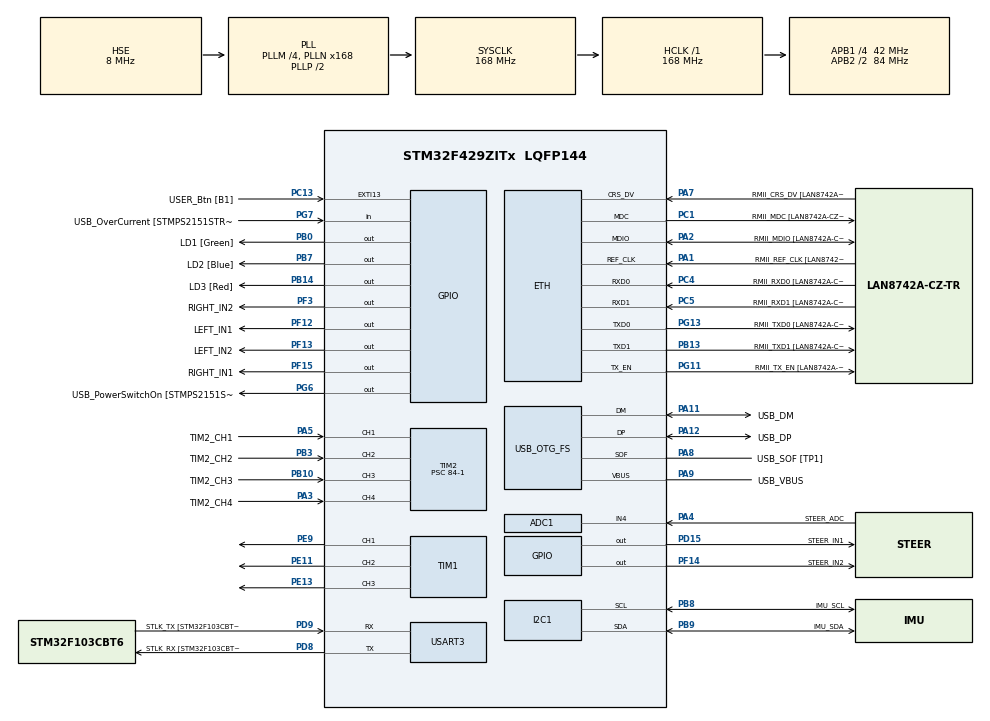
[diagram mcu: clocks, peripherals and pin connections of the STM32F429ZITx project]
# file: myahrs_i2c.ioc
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ADC1.Channel-0\#ChannelRegularConversion=ADC_CHANNEL_4
ADC1.NbrOfConversionFlag=1
ADC1.Rank-0\#ChannelRegularConversion=1
ADC1.SamplingTime-0\#ChannelRegularConversion=ADC_SAMPLETIME_3CYCLES
ADC1.master=1
ETH.MediaInterface=HAL_ETH_RMII_MODE
ETH.PHY_Name=LAN8742A_PHY_ADDRESS
ETH.PHY_Value=0
ETH.PhyAddress=0
Mcu.Family=STM32F4
Mcu.Name=STM32F429ZITx
Mcu.Package=LQFP144
NVIC.ADC_IRQn=true\:6\:0\:true\:false\:true\:true\:true\:true
NVIC.I2C1_ER_IRQn=true\:0\:0\:false\:false\:true\:true\:true\:true
NVIC.I2C1_EV_IRQn=true\:0\:0\:false\:false\:true\:true\:true\:true
NVIC.PriorityGroup=NVIC_PRIORITYGROUP_4
NVIC.TIM2_IRQn=true\:0\:0\:false\:false\:true\:true\:true\:true
PA1.GPIO_Label=RMII_REF_CLK [LAN8742A-CZ-TR_REFCLK0]
PA1.Mode=RMII
PA1.Signal=ETH_REF_CLK
PA10.GPIO_Label=USB_ID
PA10.Signal=USB_OTG_FS_ID
PA11.GPIO_Label=USB_DM
PA11.Mode=Device_Only
PA11.Signal=USB_OTG_FS_DM
PA12.GPIO_Label=USB_DP
PA12.Mode=Device_Only
PA12.Signal=USB_OTG_FS_DP
PA13.GPIO_Label=TMS
PA13.Mode=Serial_Wire
PA13.Signal=SYS_JTMS-SWDIO
PA14.GPIO_Label=TCK
PA14.Mode=Serial_Wire
PA14.Signal=SYS_JTCK-SWCLK
PA2.GPIO_Label=RMII_MDIO [LAN8742A-CZ-TR_MDIO]
PA2.Mode=RMII
PA2.Signal=ETH_MDIO
PA3.GPIO_Label=TIM2_CH4
PA3.Signal=S_TIM2_CH4
PA4.GPIO_Label=STEER_ADC
PA4.Signal=ADCx_IN4
PA5.GPIO_Label=TIM2_CH1
PA5.Signal=S_TIM2_CH1_ETR
PA7.GPIO_Label=RMII_CRS_DV [LAN8742A-CZ-TR_CRS_DV]
PA7.Mode=RMII
PA7.Signal=ETH_CRS_DV
PA8.GPIO_Label=USB_SOF [TP1]
PA8.Mode=Activate_SOF_FS
PA8.Signal=USB_OTG_FS_SOF
PA9.GPIO_Label=USB_VBUS
PA9.Mode=Activate_VBUS
PA9.Signal=USB_OTG_FS_VBUS
PB0.GPIO_Label=LD1 [Green]
PB0.Signal=GPIO_Output
PB10.GPIO_Label=TIM2_CH3
PB10.Signal=S_TIM2_CH3
PB13.GPIO_Label=RMII_TXD1 [LAN8742A-CZ-TR_TXD1]
PB13.Mode=RMII
PB13.Signal=ETH_TXD1
PB14.GPIO_Label=LD3 [Red]
PB14.Signal=GPIO_Output
PB3.GPIO_Label=TIM2_CH2
PB3.Signal=S_TIM2_CH2
PB7.GPIO_Label=LD2 [Blue]
PB7.Signal=GPIO_Output
PB8.GPIO_Label=IMU_SCL
PB8.Mode=I2C
PB8.Signal=I2C1_SCL
PB9.GPIO_Label=IMU_SDA
PB9.Mode=I2C
PB9.Signal=I2C1_SDA
PC1.GPIO_Label=RMII_MDC [LAN8742A-CZ-TR_MDC]
PC1.Mode=RMII
PC1.Signal=ETH_MDC
PC13.GPIO_Label=USER_Btn [B1]
PC13.Signal=GPXTI13
PC14/OSC32_IN.Mode=LSE-External-Oscillator
PC14/OSC32_IN.Signal=RCC_OSC32_IN
PC15/OSC32_OUT.Mode=LSE-External-Oscillator
PC15/OSC32_OUT.Signal=RCC_OSC32_OUT
PC4.GPIO_Label=RMII_RXD0 [LAN8742A-CZ-TR_RXD0]
PC4.Mode=RMII
PC4.Signal=ETH_RXD0
PC5.GPIO_Label=RMII_RXD1 [LAN8742A-CZ-TR_RXD1]
PC5.Mode=RMII
PC5.Signal=ETH_RXD1
PD15.GPIO_Label=STEER_IN1
PD15.Signal=GPIO_Output
PD8.GPIO_Label=STLK_RX [STM32F103CBT6_PA3]
PD8.Mode=Asynchronous
PD8.Signal=USART3_TX
PD9.GPIO_Label=STLK_TX [STM32F103CBT6_PA2]
PD9.Mode=Asynchronous
PD9.Signal=USART3_RX
PE11.Signal=S_TIM1_CH2
PE13.Signal=S_TIM1_CH3
PE9.Signal=S_TIM1_CH1
PF12.GPIO_Label=LEFT_IN1
PF12.Signal=GPIO_Output
PF13.GPIO_Label=LEFT_IN2
PF13.Signal=GPIO_Output
PF14.GPIO_Label=STEER_IN2
PF14.Signal=GPIO_Output
PF15.GPIO_Label=RIGHT_IN1
PF15.Signal=GPIO_Output
PF3.GPIO_Label=RIGHT_IN2
PF3.Signal=GPIO_Output
PG11.GPIO_Label=RMII_TX_EN [LAN8742A-CZ-TR_TXEN]
PG11.Mode=RMII
PG11.Signal=ETH_TX_EN
PG13.GPIO_Label=RMII_TXD0 [LAN8742A-CZ-TR_TXD0]
PG13.Mode=RMII
PG13.Signal=ETH_TXD0
PG6.GPIO_Label=USB_PowerSwitchOn [STMPS2151STR_EN]
PG6.Signal=GPIO_Output
PG7.GPIO_Label=USB_OverCurrent [STMPS2151STR_FAULT]
PG7.Signal=GPIO_Input
PH0/OSC_IN.GPIO_Label=MCO [STM32F103CBT6_PA8]
PH0/OSC_IN.Mode=HSE-External-Clock-Source
PH0/OSC_IN.Signal=RCC_OSC_IN
PH1/OSC_OUT.Mode=HSE-External-Clock-Source
PH1/OSC_OUT.Signal=RCC_OSC_OUT
ProjectManager.HeapSize=0x200
ProjectManager.StackSize=0x400
ProjectManager.TargetToolchain=STM32CubeIDE
RCC.48MHZClocksFreq_Value=48000000
RCC.AHBFreq_Value=168000000
RCC.APB1CLKDivider=RCC_HCLK_DIV4
RCC.APB1Freq_Value=42000000
RCC.APB1TimFreq_Value=84000000
RCC.APB2CLKDivider=RCC_HCLK_DIV2
RCC.APB2Freq_Value=84000000
RCC.APB2TimCLKDivider=2
RCC.APB2TimFreq_Value=168000000
RCC.CortexFreq_Value=168000000
RCC.HCLKFreq_Value=168000000
RCC.HSE_VALUE=8000000
RCC.HSI_VALUE=16000000
RCC.PLLM=4
RCC.PLLMUL=RCC_PLL_MUL9
RCC.PLLN=168
RCC.PLLQ=7
RCC.PRESCALERUSB=RCC_USBCLKSOURCE_PLL_DIV1_5
RCC.SYSCLKFreq_VALUE=168000000
RCC.SYSCLKSource=RCC_SYSCLKSOURCE_PLLCLK
RCC.SYSCLKSourceVirtual=RCC_SYSCLKSOURCE_PLLCLK
RCC.USBFreq_Value=48000000
RCC.VCOOutputFreq_Value=336000000
SH.ADCx_IN4.0=ADC1_IN4,IN4
SH.S_TIM1_CH1.0=TIM1_CH1,PWM Generation1 CH1
SH.S_TIM1_CH2.0=TIM1_CH2,PWM Generation2 CH2
SH.S_TIM1_CH3.0=TIM1_CH3,PWM Generation3 CH3
SH.S_TIM2_CH1_ETR.0=TIM2_CH1,Input_Capture1_from_TI1
SH.S_TIM2_CH2.0=TIM2_CH2,Input_Capture2_from_TI2
SH.S_TIM2_CH3.0=TIM2_CH3,Input_Capture3_from_TI3
SH.S_TIM2_CH4.0=TIM2_CH4,Input_Capture4_from_TI4
TIM1.Channel-PWM\ Generation1\ CH1=TIM_CHANNEL_1
TIM1.Channel-PWM\ Generation2\ CH2=TIM_CHANNEL_2
TIM1.Channel-PWM\ Generation3\ CH3=TIM_CHANNEL_3
TIM2.Channel-Input_Capture1_from_TI1=TIM_CHANNEL_1
TIM2.Channel-Input_Capture2_from_TI2=TIM_CHANNEL_2
TIM2.Channel-Input_Capture3_from_TI3=TIM_CHANNEL_3
TIM2.Channel-Input_Capture4_from_TI4=TIM_CHANNEL_4
TIM2.ICPolarity_CH1=TIM_INPUTCHANNELPOLARITY_BOTHEDGE
TIM2.ICPolarity_CH2=TIM_INPUTCHANNELPOLARITY_BOTHEDGE
TIM2.ICPolarity_CH3=TIM_INPUTCHANNELPOLARITY_BOTHEDGE
TIM2.ICPolarity_CH4=TIM_INPUTCHANNELPOLARITY_BOTHEDGE
TIM2.Prescaler=84-1
USART3.VirtualMode=VM_ASYNC
USB_OTG_FS.VirtualMode=Device_Only
VP_TIM1_VS_ClockSourceINT.Mode=Internal
VP_TIM2_VS_ClockSourceINT.Mode=Internal
board=NUCLEO-F429ZI

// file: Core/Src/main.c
/* USER CODE BEGIN Header */
/**
  ******************************************************************************
  * @file           : main.c
  * @brief          : Main program body
  ******************************************************************************
  * @attention
  *
  * Copyright (c) 2025 STMicroelectronics.
  * All rights reserved.
  *
  * This software is licensed under terms that can be found in the LICENSE file
  * in the root directory of this software component.
  * If no LICENSE file comes with this software, it is provided AS-IS.
  *
  ******************************************************************************
  */
/* USER CODE END Header */
#include "main.h"
#include "string.h"

/* USER CODE BEGIN Includes */
#include <stdio.h>
#include <string.h>
/* USER CODE END Includes */

ETH_TxPacketConfig TxConfig;
ETH_DMADescTypeDef  DMARxDscrTab[ETH_RX_DESC_CNT]; /* Ethernet Rx DMA Descriptors */
ETH_DMADescTypeDef  DMATxDscrTab[ETH_TX_DESC_CNT]; /* Ethernet Tx DMA Descriptors */

ADC_HandleTypeDef hadc1;

ETH_HandleTypeDef heth;

I2C_HandleTypeDef hi2c1;

TIM_HandleTypeDef htim1;
TIM_HandleTypeDef htim2;

UART_HandleTypeDef huart3;

PCD_HandleTypeDef hpcd_USB_OTG_FS;

/* USER CODE BEGIN PV */
#define MYAHRS_I2C_ADDR (0x20 << 1)
#define REG_WHO_AM_I    0x01
// #define REG_ACC_LOW     0x20

#define REG_C_ACC_X_LOW     0x22  // Calibrated Accelerometer X Low
#define REG_C_GYRO_X_LOW    0x28  // Calibrated Gyroscope X Low
#define REG_ROLL_LOW        0x36  // Roll Low Register Addr

// Scale Factors
#define ACC_SCALE       (16.0f / 32768.0f)
#define GYRO_SCALE      (2000.0f / 32768.0f)
#define RPY_SCALE       (180.0f / 32768.0f)

uint8_t i2c_buf[6];
int16_t roll, pitch, yaw;
int16_t acc_x, acc_y, acc_z;
int16_t gyro_x, gyro_y, gyro_z;

float roll_f, pitch_f, yaw_f;
float acc_xf, acc_yf, acc_zf;
float gyro_xf, gyro_yf, gyro_zf;

char uart_buf[256];

// I2C State Machine
typedef enum {
    I2C_IDLE,
    I2C_READ_RPY,
    I2C_READ_ACC,
    I2C_READ_GYRO
} I2C_State;

volatile I2C_State i2c_state = I2C_IDLE;
uint32_t last_tick = 0;
/* USER CODE END PV */

void SystemClock_Config(void);
static void MX_GPIO_Init(void);
static void MX_ETH_Init(void);
static void MX_USART3_UART_Init(void);
static void MX_USB_OTG_FS_PCD_Init(void);
static void MX_TIM2_Init(void);
static void MX_TIM1_Init(void);
static void MX_ADC1_Init(void);
static void MX_I2C1_Init(void);

int main(void)
{

  /* MCU Configuration--------------------------------------------------------*/

  /* Reset of all peripherals, Initializes the Flash interface and the Systick. */
  HAL_Init();

  /* Configure the system clock */
  SystemClock_Config();

  /* Initialize all configured peripherals */
  MX_GPIO_Init();
  MX_ETH_Init();
  MX_USART3_UART_Init();
  MX_USB_OTG_FS_PCD_Init();
  MX_TIM2_Init();
  MX_TIM1_Init();
  MX_ADC1_Init();
  MX_I2C1_Init();
  /* USER CODE BEGIN 2 */
  // 1. Check Connection
  uint8_t who_am_i = 0;
  if (HAL_I2C_Mem_Read(&hi2c1, MYAHRS_I2C_ADDR, REG_WHO_AM_I, I2C_MEMADD_SIZE_8BIT, &who_am_i, 1, 100) == HAL_OK) {
      int len = snprintf(uart_buf, sizeof(uart_buf), "myAHRS+ Found! ID: 0x%02X\r\n", who_am_i);
      HAL_UART_Transmit(&huart3, (uint8_t*)uart_buf, len, 100);
  } else {
      char* msg = "myAHRS+ NOT Found!\r\n";
      HAL_UART_Transmit(&huart3, (uint8_t*)msg, strlen(msg), 100);
  }
  /* USER CODE END 2 */

  /* Infinite loop */
  while (1)
  {

    /* USER CODE BEGIN 3 */

    if (i2c_state == I2C_IDLE) {

      roll_f  = roll  * RPY_SCALE;
      pitch_f = pitch * RPY_SCALE;
      yaw_f   = yaw   * RPY_SCALE;

      acc_xf = acc_x * ACC_SCALE;
      acc_yf = acc_y * ACC_SCALE;
      acc_zf = acc_z * ACC_SCALE;

      gyro_xf = gyro_x * GYRO_SCALE;
      gyro_yf = gyro_y * GYRO_SCALE;
      gyro_zf = gyro_z * GYRO_SCALE;

      i2c_state = I2C_READ_RPY;
      HAL_I2C_Mem_Read_IT(&hi2c1, MYAHRS_I2C_ADDR, REG_ROLL_LOW, I2C_MEMADD_SIZE_8BIT, i2c_buf, 6);
    }

    if (HAL_GetTick() - last_tick >= 50) {
      last_tick = HAL_GetTick();

      int len = snprintf(uart_buf, sizeof(uart_buf),
            "RPY(deg):%.2f,%.2f,%.2f A(g):%.3f,%.3f,%.3f G(dps):%.1f,%.1f,%.1f\r\n",
             roll_f, pitch_f, yaw_f, acc_xf, acc_yf, acc_zf, gyro_xf, gyro_yf, gyro_zf);
      HAL_UART_Transmit(&huart3, (uint8_t*)uart_buf, len, 100);
    }
  }
  /* USER CODE END 3 */
}

void SystemClock_Config(void)
{
  RCC_OscInitTypeDef RCC_OscInitStruct = {0};
  RCC_ClkInitTypeDef RCC_ClkInitStruct = {0};

  /** Configure the main internal regulator output voltage
  */
  __HAL_RCC_PWR_CLK_ENABLE();
  __HAL_PWR_VOLTAGESCALING_CONFIG(PWR_REGULATOR_VOLTAGE_SCALE1);

  /** Initializes the RCC Oscillators according to the specified parameters
  * in the RCC_OscInitTypeDef structure.
  */
  RCC_OscInitStruct.OscillatorType = RCC_OSCILLATORTYPE_HSE;
  RCC_OscInitStruct.HSEState = RCC_HSE_BYPASS;
  RCC_OscInitStruct.PLL.PLLState = RCC_PLL_ON;
  RCC_OscInitStruct.PLL.PLLSource = RCC_PLLSOURCE_HSE;
  RCC_OscInitStruct.PLL.PLLM = 4;
  RCC_OscInitStruct.PLL.PLLN = 168;
  RCC_OscInitStruct.PLL.PLLP = RCC_PLLP_DIV2;
  RCC_OscInitStruct.PLL.PLLQ = 7;
  if (HAL_RCC_OscConfig(&RCC_OscInitStruct) != HAL_OK)
  {
    Error_Handler();
  }

  /** Initializes the CPU, AHB and APB buses clocks
  */
  RCC_ClkInitStruct.ClockType = RCC_CLOCKTYPE_HCLK|RCC_CLOCKTYPE_SYSCLK
                              |RCC_CLOCKTYPE_PCLK1|RCC_CLOCKTYPE_PCLK2;
  RCC_ClkInitStruct.SYSCLKSource = RCC_SYSCLKSOURCE_PLLCLK;
  RCC_ClkInitStruct.AHBCLKDivider = RCC_SYSCLK_DIV1;
  RCC_ClkInitStruct.APB1CLKDivider = RCC_HCLK_DIV4;
  RCC_ClkInitStruct.APB2CLKDivider = RCC_HCLK_DIV2;

  if (HAL_RCC_ClockConfig(&RCC_ClkInitStruct, FLASH_LATENCY_5) != HAL_OK)
  {
    Error_Handler();
  }
}

static void MX_ADC1_Init(void)
{

  ADC_ChannelConfTypeDef sConfig = {0};

  /** Configure the global features of the ADC (Clock, Resolution, Data Alignment and number of conversion)
  */
  hadc1.Instance = ADC1;
  hadc1.Init.ClockPrescaler = ADC_CLOCK_SYNC_PCLK_DIV4;
  hadc1.Init.Resolution = ADC_RESOLUTION_12B;
  hadc1.Init.ScanConvMode = DISABLE;
  hadc1.Init.ContinuousConvMode = DISABLE;
  hadc1.Init.DiscontinuousConvMode = DISABLE;
  hadc1.Init.ExternalTrigConvEdge = ADC_EXTERNALTRIGCONVEDGE_NONE;
  hadc1.Init.ExternalTrigConv = ADC_SOFTWARE_START;
  hadc1.Init.DataAlign = ADC_DATAALIGN_RIGHT;
  hadc1.Init.NbrOfConversion = 1;
  hadc1.Init.DMAContinuousRequests = DISABLE;
  hadc1.Init.EOCSelection = ADC_EOC_SINGLE_CONV;
  if (HAL_ADC_Init(&hadc1) != HAL_OK)
  {
    Error_Handler();
  }

  /** Configure for the selected ADC regular channel its corresponding rank in the sequencer and its sample time.
  */
  sConfig.Channel = ADC_CHANNEL_4;
  sConfig.Rank = 1;
  sConfig.SamplingTime = ADC_SAMPLETIME_3CYCLES;
  if (HAL_ADC_ConfigChannel(&hadc1, &sConfig) != HAL_OK)
  {
    Error_Handler();
  }

}

static void MX_ETH_Init(void)
{

   static uint8_t MACAddr[6];

  heth.Instance = ETH;
  MACAddr[0] = 0x00;
  MACAddr[1] = 0x80;
  MACAddr[2] = 0xE1;
  MACAddr[3] = 0x00;
  MACAddr[4] = 0x00;
  MACAddr[5] = 0x00;
  heth.Init.MACAddr = &MACAddr[0];
  heth.Init.MediaInterface = HAL_ETH_RMII_MODE;
  heth.Init.TxDesc = DMATxDscrTab;
  heth.Init.RxDesc = DMARxDscrTab;
  heth.Init.RxBuffLen = 1524;

  if (HAL_ETH_Init(&heth) != HAL_OK)
  {
    Error_Handler();
  }

  memset(&TxConfig, 0 , sizeof(ETH_TxPacketConfig));
  TxConfig.Attributes = ETH_TX_PACKETS_FEATURES_CSUM | ETH_TX_PACKETS_FEATURES_CRCPAD;
  TxConfig.ChecksumCtrl = ETH_CHECKSUM_IPHDR_PAYLOAD_INSERT_PHDR_CALC;
  TxConfig.CRCPadCtrl = ETH_CRC_PAD_INSERT;

}

static void MX_I2C1_Init(void)
{

  hi2c1.Instance = I2C1;
  hi2c1.Init.ClockSpeed = 100000;
  hi2c1.Init.DutyCycle = I2C_DUTYCYCLE_2;
  hi2c1.Init.OwnAddress1 = 0;
  hi2c1.Init.AddressingMode = I2C_ADDRESSINGMODE_7BIT;
  hi2c1.Init.DualAddressMode = I2C_DUALADDRESS_DISABLE;
  hi2c1.Init.OwnAddress2 = 0;
  hi2c1.Init.GeneralCallMode = I2C_GENERALCALL_DISABLE;
  hi2c1.Init.NoStretchMode = I2C_NOSTRETCH_DISABLE;
  if (HAL_I2C_Init(&hi2c1) != HAL_OK)
  {
    Error_Handler();
  }

  /** Configure Analogue filter
  */
  if (HAL_I2CEx_ConfigAnalogFilter(&hi2c1, I2C_ANALOGFILTER_ENABLE) != HAL_OK)
  {
    Error_Handler();
  }

  /** Configure Digital filter
  */
  if (HAL_I2CEx_ConfigDigitalFilter(&hi2c1, 0) != HAL_OK)
  {
    Error_Handler();
  }

}

static void MX_TIM1_Init(void)
{

  TIM_ClockConfigTypeDef sClockSourceConfig = {0};
  TIM_MasterConfigTypeDef sMasterConfig = {0};
  TIM_OC_InitTypeDef sConfigOC = {0};
  TIM_BreakDeadTimeConfigTypeDef sBreakDeadTimeConfig = {0};

  htim1.Instance = TIM1;
  htim1.Init.Prescaler = 0;
  htim1.Init.CounterMode = TIM_COUNTERMODE_UP;
  htim1.Init.Period = 65535;
  htim1.Init.ClockDivision = TIM_CLOCKDIVISION_DIV1;
  htim1.Init.RepetitionCounter = 0;
  htim1.Init.AutoReloadPreload = TIM_AUTORELOAD_PRELOAD_DISABLE;
  if (HAL_TIM_Base_Init(&htim1) != HAL_OK)
  {
    Error_Handler();
  }
  sClockSourceConfig.ClockSource = TIM_CLOCKSOURCE_INTERNAL;
  if (HAL_TIM_ConfigClockSource(&htim1, &sClockSourceConfig) != HAL_OK)
  {
    Error_Handler();
  }
  if (HAL_TIM_PWM_Init(&htim1) != HAL_OK)
  {
    Error_Handler();
  }
  sMasterConfig.MasterOutputTrigger = TIM_TRGO_RESET;
  sMasterConfig.MasterSlaveMode = TIM_MASTERSLAVEMODE_DISABLE;
  if (HAL_TIMEx_MasterConfigSynchronization(&htim1, &sMasterConfig) != HAL_OK)
  {
    Error_Handler();
  }
  sConfigOC.OCMode = TIM_OCMODE_PWM1;
  sConfigOC.Pulse = 0;
  sConfigOC.OCPolarity = TIM_OCPOLARITY_HIGH;
  sConfigOC.OCNPolarity = TIM_OCNPOLARITY_HIGH;
  sConfigOC.OCFastMode = TIM_OCFAST_DISABLE;
  sConfigOC.OCIdleState = TIM_OCIDLESTATE_RESET;
  sConfigOC.OCNIdleState = TIM_OCNIDLESTATE_RESET;
  if (HAL_TIM_PWM_ConfigChannel(&htim1, &sConfigOC, TIM_CHANNEL_1) != HAL_OK)
  {
    Error_Handler();
  }
  if (HAL_TIM_PWM_ConfigChannel(&htim1, &sConfigOC, TIM_CHANNEL_2) != HAL_OK)
  {
    Error_Handler();
  }
  if (HAL_TIM_PWM_ConfigChannel(&htim1, &sConfigOC, TIM_CHANNEL_3) != HAL_OK)
  {
    Error_Handler();
  }
  sBreakDeadTimeConfig.OffStateRunMode = TIM_OSSR_DISABLE;
  sBreakDeadTimeConfig.OffStateIDLEMode = TIM_OSSI_DISABLE;
  sBreakDeadTimeConfig.LockLevel = TIM_LOCKLEVEL_OFF;
  sBreakDeadTimeConfig.DeadTime = 0;
  sBreakDeadTimeConfig.BreakState = TIM_BREAK_DISABLE;
  sBreakDeadTimeConfig.BreakPolarity = TIM_BREAKPOLARITY_HIGH;
  sBreakDeadTimeConfig.AutomaticOutput = TIM_AUTOMATICOUTPUT_DISABLE;
  if (HAL_TIMEx_ConfigBreakDeadTime(&htim1, &sBreakDeadTimeConfig) != HAL_OK)
  {
    Error_Handler();
  }
  HAL_TIM_MspPostInit(&htim1);

}

static void MX_TIM2_Init(void)
{

  TIM_ClockConfigTypeDef sClockSourceConfig = {0};
  TIM_MasterConfigTypeDef sMasterConfig = {0};
  TIM_IC_InitTypeDef sConfigIC = {0};

  htim2.Instance = TIM2;
  htim2.Init.Prescaler = 84-1;
  htim2.Init.CounterMode = TIM_COUNTERMODE_UP;
  htim2.Init.Period = 4294967295;
  htim2.Init.ClockDivision = TIM_CLOCKDIVISION_DIV1;
  htim2.Init.AutoReloadPreload = TIM_AUTORELOAD_PRELOAD_DISABLE;
  if (HAL_TIM_Base_Init(&htim2) != HAL_OK)
  {
    Error_Handler();
  }
  sClockSourceConfig.ClockSource = TIM_CLOCKSOURCE_INTERNAL;
  if (HAL_TIM_ConfigClockSource(&htim2, &sClockSourceConfig) != HAL_OK)
  {
    Error_Handler();
  }
  if (HAL_TIM_IC_Init(&htim2) != HAL_OK)
  {
    Error_Handler();
  }
  sMasterConfig.MasterOutputTrigger = TIM_TRGO_RESET;
  sMasterConfig.MasterSlaveMode = TIM_MASTERSLAVEMODE_DISABLE;
  if (HAL_TIMEx_MasterConfigSynchronization(&htim2, &sMasterConfig) != HAL_OK)
  {
    Error_Handler();
  }
  sConfigIC.ICPolarity = TIM_INPUTCHANNELPOLARITY_BOTHEDGE;
  sConfigIC.ICSelection = TIM_ICSELECTION_DIRECTTI;
  sConfigIC.ICPrescaler = TIM_ICPSC_DIV1;
  sConfigIC.ICFilter = 0;
  if (HAL_TIM_IC_ConfigChannel(&htim2, &sConfigIC, TIM_CHANNEL_1) != HAL_OK)
  {
    Error_Handler();
  }
  if (HAL_TIM_IC_ConfigChannel(&htim2, &sConfigIC, TIM_CHANNEL_2) != HAL_OK)
  {
    Error_Handler();
  }
  if (HAL_TIM_IC_ConfigChannel(&htim2, &sConfigIC, TIM_CHANNEL_3) != HAL_OK)
  {
    Error_Handler();
  }
  if (HAL_TIM_IC_ConfigChannel(&htim2, &sConfigIC, TIM_CHANNEL_4) != HAL_OK)
  {
    Error_Handler();
  }

}

static void MX_USART3_UART_Init(void)
{

  huart3.Instance = USART3;
  huart3.Init.BaudRate = 115200;
  huart3.Init.WordLength = UART_WORDLENGTH_8B;
  huart3.Init.StopBits = UART_STOPBITS_1;
  huart3.Init.Parity = UART_PARITY_NONE;
  huart3.Init.Mode = UART_MODE_TX_RX;
  huart3.Init.HwFlowCtl = UART_HWCONTROL_NONE;
  huart3.Init.OverSampling = UART_OVERSAMPLING_16;
  if (HAL_UART_Init(&huart3) != HAL_OK)
  {
    Error_Handler();
  }

}

static void MX_USB_OTG_FS_PCD_Init(void)
{

  hpcd_USB_OTG_FS.Instance = USB_OTG_FS;
  hpcd_USB_OTG_FS.Init.dev_endpoints = 4;
  hpcd_USB_OTG_FS.Init.speed = PCD_SPEED_FULL;
  hpcd_USB_OTG_FS.Init.dma_enable = DISABLE;
  hpcd_USB_OTG_FS.Init.phy_itface = PCD_PHY_EMBEDDED;
  hpcd_USB_OTG_FS.Init.Sof_enable = ENABLE;
  hpcd_USB_OTG_FS.Init.low_power_enable = DISABLE;
  hpcd_USB_OTG_FS.Init.lpm_enable = DISABLE;
  hpcd_USB_OTG_FS.Init.vbus_sensing_enable = ENABLE;
  hpcd_USB_OTG_FS.Init.use_dedicated_ep1 = DISABLE;
  if (HAL_PCD_Init(&hpcd_USB_OTG_FS) != HAL_OK)
  {
    Error_Handler();
  }

}

static void MX_GPIO_Init(void)
{
  GPIO_InitTypeDef GPIO_InitStruct = {0};

  /* GPIO Ports Clock Enable */
  __HAL_RCC_GPIOC_CLK_ENABLE();
  __HAL_RCC_GPIOF_CLK_ENABLE();
  __HAL_RCC_GPIOH_CLK_ENABLE();
  __HAL_RCC_GPIOA_CLK_ENABLE();
  __HAL_RCC_GPIOB_CLK_ENABLE();
  __HAL_RCC_GPIOE_CLK_ENABLE();
  __HAL_RCC_GPIOD_CLK_ENABLE();
  __HAL_RCC_GPIOG_CLK_ENABLE();

  /*Configure GPIO pin Output Level */
  HAL_GPIO_WritePin(GPIOF, RIGHT_IN2_Pin|LEFT_IN1_Pin|LEFT_IN2_Pin|STEER_IN2_Pin
                          |RIGHT_IN1_Pin, GPIO_PIN_RESET);

  /*Configure GPIO pin Output Level */
  HAL_GPIO_WritePin(GPIOB, LD1_Pin|LD3_Pin|LD2_Pin, GPIO_PIN_RESET);

  /*Configure GPIO pin Output Level */
  HAL_GPIO_WritePin(STEER_IN1_GPIO_Port, STEER_IN1_Pin, GPIO_PIN_RESET);

  /*Configure GPIO pin Output Level */
  HAL_GPIO_WritePin(USB_PowerSwitchOn_GPIO_Port, USB_PowerSwitchOn_Pin, GPIO_PIN_RESET);

  /*Configure GPIO pin : USER_Btn_Pin */
  GPIO_InitStruct.Pin = USER_Btn_Pin;
  GPIO_InitStruct.Mode = GPIO_MODE_IT_RISING;
  GPIO_InitStruct.Pull = GPIO_NOPULL;
  HAL_GPIO_Init(USER_Btn_GPIO_Port, &GPIO_InitStruct);

  /*Configure GPIO pins : RIGHT_IN2_Pin LEFT_IN1_Pin LEFT_IN2_Pin STEER_IN2_Pin
                           RIGHT_IN1_Pin */
  GPIO_InitStruct.Pin = RIGHT_IN2_Pin|LEFT_IN1_Pin|LEFT_IN2_Pin|STEER_IN2_Pin
                          |RIGHT_IN1_Pin;
  GPIO_InitStruct.Mode = GPIO_MODE_OUTPUT_PP;
  GPIO_InitStruct.Pull = GPIO_NOPULL;
  GPIO_InitStruct.Speed = GPIO_SPEED_FREQ_LOW;
  HAL_GPIO_Init(GPIOF, &GPIO_InitStruct);

  /*Configure GPIO pins : LD1_Pin LD3_Pin LD2_Pin */
  GPIO_InitStruct.Pin = LD1_Pin|LD3_Pin|LD2_Pin;
  GPIO_InitStruct.Mode = GPIO_MODE_OUTPUT_PP;
  GPIO_InitStruct.Pull = GPIO_NOPULL;
  GPIO_InitStruct.Speed = GPIO_SPEED_FREQ_LOW;
  HAL_GPIO_Init(GPIOB, &GPIO_InitStruct);

  /*Configure GPIO pin : STEER_IN1_Pin */
  GPIO_InitStruct.Pin = STEER_IN1_Pin;
  GPIO_InitStruct.Mode = GPIO_MODE_OUTPUT_PP;
  GPIO_InitStruct.Pull = GPIO_NOPULL;
  GPIO_InitStruct.Speed = GPIO_SPEED_FREQ_LOW;
  HAL_GPIO_Init(STEER_IN1_GPIO_Port, &GPIO_InitStruct);

  /*Configure GPIO pin : USB_PowerSwitchOn_Pin */
  GPIO_InitStruct.Pin = USB_PowerSwitchOn_Pin;
  GPIO_InitStruct.Mode = GPIO_MODE_OUTPUT_PP;
  GPIO_InitStruct.Pull = GPIO_NOPULL;
  GPIO_InitStruct.Speed = GPIO_SPEED_FREQ_LOW;
  HAL_GPIO_Init(USB_PowerSwitchOn_GPIO_Port, &GPIO_InitStruct);

  /*Configure GPIO pin : USB_OverCurrent_Pin */
  GPIO_InitStruct.Pin = USB_OverCurrent_Pin;
  GPIO_InitStruct.Mode = GPIO_MODE_INPUT;
  GPIO_InitStruct.Pull = GPIO_NOPULL;
  HAL_GPIO_Init(USB_OverCurrent_GPIO_Port, &GPIO_InitStruct);

}

/* USER CODE BEGIN 4 */
void HAL_I2C_MemRxCpltCallback(I2C_HandleTypeDef *hi2c)
{
    if (hi2c->Instance != I2C1) return;

    if (i2c_state == I2C_READ_RPY) {
        // RPY 데이터 저장
        roll  = (int16_t)((i2c_buf[1] << 8) | i2c_buf[0]);
        pitch = (int16_t)((i2c_buf[3] << 8) | i2c_buf[2]);
        yaw   = (int16_t)((i2c_buf[5] << 8) | i2c_buf[4]);

        // 다음 단계: Accel 읽기
        i2c_state = I2C_READ_ACC;
        HAL_I2C_Mem_Read_IT(&hi2c1, MYAHRS_I2C_ADDR, REG_C_ACC_X_LOW, I2C_MEMADD_SIZE_8BIT, i2c_buf, 6);
    }
    else if (i2c_state == I2C_READ_ACC) {
        // Accel 데이터 저장
        acc_x = (int16_t)((i2c_buf[1] << 8) | i2c_buf[0]);
        acc_y = (int16_t)((i2c_buf[3] << 8) | i2c_buf[2]);
        acc_z = (int16_t)((i2c_buf[5] << 8) | i2c_buf[4]);

        // 다음 단계: Gyro 읽기
        i2c_state = I2C_READ_GYRO;
        HAL_I2C_Mem_Read_IT(&hi2c1, MYAHRS_I2C_ADDR, REG_C_GYRO_X_LOW, I2C_MEMADD_SIZE_8BIT, i2c_buf, 6);
    }
    else if (i2c_state == I2C_READ_GYRO) {
        // Gyro 데이터 저장
        gyro_x = (int16_t)((i2c_buf[1] << 8) | i2c_buf[0]);
        gyro_y = (int16_t)((i2c_buf[3] << 8) | i2c_buf[2]);
        gyro_z = (int16_t)((i2c_buf[5] << 8) | i2c_buf[4]);

        // 모든 읽기 완료 -> 변환 및 출력
        i2c_state = I2C_IDLE; // 다시 대기 상태로
    }
}
/* USER CODE END 4 */

void Error_Handler(void)
{
  __disable_irq();
  while (1)
  {
  }
}
